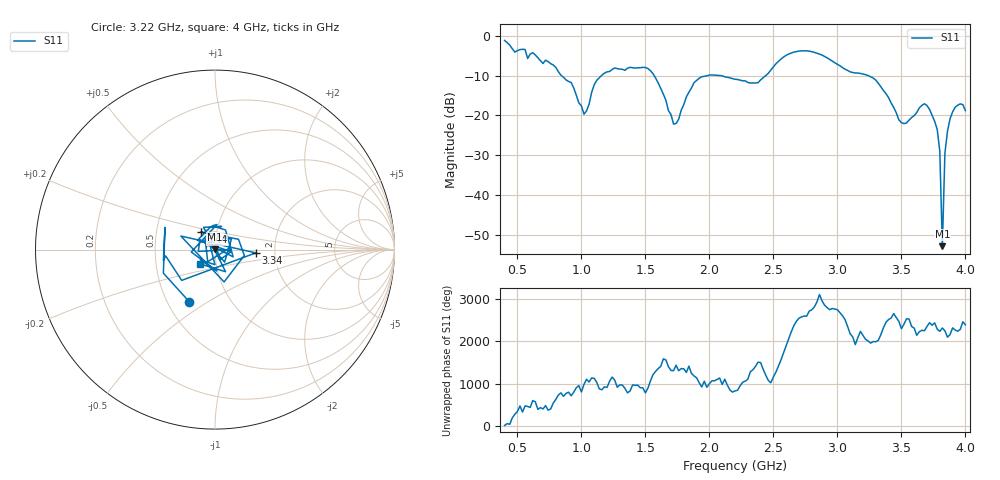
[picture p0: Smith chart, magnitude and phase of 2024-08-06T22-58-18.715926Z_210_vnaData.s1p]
!Created with skrf (http://scikit-rf.org).
# Hz S RI R 50.0
!freq ReS11 ImS11
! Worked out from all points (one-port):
!   181 points, 400 MHz to 4 GHz, reference 50 ohm
!   lowest |S11| = -52.8 dB at 3.82 GHz (marker M1), VSWR 1.00, Z = 49.8 + j0.115 ohm
!   |S11| at or under -10 dB: 1.568 GHz to 1.988 GHz (419.7 MHz wide, 23.6 % of centre); 2.083 GHz to 2.441 GHz (357.3 MHz wide, 15.8 % of centre); 3.24 GHz to end of sweep (the widest 3 of 4)
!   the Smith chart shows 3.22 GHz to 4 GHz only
!   S11 on the Smith chart (normalised r, x): 3.22 GHz: 0.64, -0.42; 3.34 GHz: 1.59, -0.06; 3.44 GHz: 0.84, +0.17; 4 GHz: 0.84, -0.14
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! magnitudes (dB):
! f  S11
! 400 MHz  -1.2
! 860 MHz  -10.5
! 920 MHz  -11.8
! 1.02 GHz  -19.7
! 1.12 GHz  -11.2
! 1.3 GHz  -8.4
! 1.52 GHz  -8.3
! 1.62 GHz  -13.2
! 1.72 GHz  -22.2
! 1.76 GHz  -20.9
! 1.92 GHz  -10.7
! 2.2 GHz  -10.9
! 2.38 GHz  -11.8
! 2.66 GHz  -4.1
! 3.1 GHz  -9.1
! 3.22 GHz  -9.8
! 3.34 GHz  -12.8
! 3.44 GHz  -18.0
! 3.5 GHz  -21.8
! 3.56 GHz  -21.2
! 3.68 GHz  -17.1
! 3.78 GHz  -23.5
! 3.8 GHz  -29.0
! 3.82 GHz  -52.8
! 3.84 GHz  -29.5
! 3.86 GHz  -24.0
! 3.92 GHz  -18.0
! 4 GHz  -18.8
